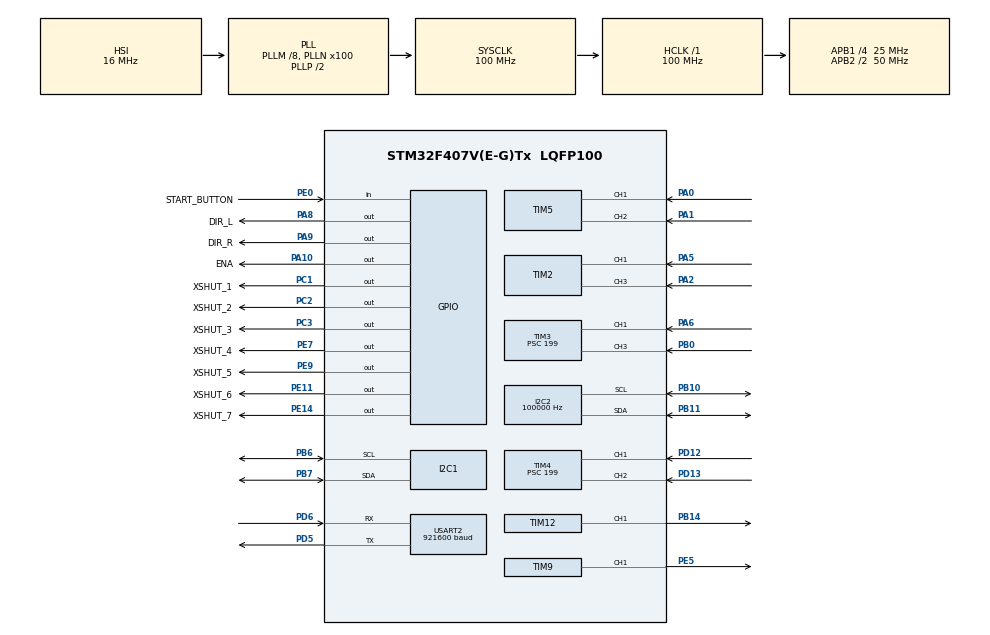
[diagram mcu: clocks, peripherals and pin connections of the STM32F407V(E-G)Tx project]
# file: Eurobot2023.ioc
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Dma.Request0=USART2_RX
Dma.Request1=USART2_TX
Dma.Request2=TIM3_CH3
Dma.Request3=TIM4_CH2
Dma.Request4=TIM2_UP/CH3
Dma.Request5=TIM5_CH2
Dma.TIM2_UP/CH3.4.Direction=DMA_PERIPH_TO_MEMORY
Dma.TIM2_UP/CH3.4.FIFOMode=DMA_FIFOMODE_DISABLE
Dma.TIM2_UP/CH3.4.Instance=DMA1_Stream1
Dma.TIM2_UP/CH3.4.MemDataAlignment=DMA_MDATAALIGN_WORD
Dma.TIM2_UP/CH3.4.MemInc=DMA_MINC_ENABLE
Dma.TIM2_UP/CH3.4.Mode=DMA_CIRCULAR
Dma.TIM2_UP/CH3.4.PeriphDataAlignment=DMA_PDATAALIGN_WORD
Dma.TIM2_UP/CH3.4.PeriphInc=DMA_PINC_DISABLE
Dma.TIM2_UP/CH3.4.Priority=DMA_PRIORITY_HIGH
Dma.TIM3_CH3.2.Direction=DMA_PERIPH_TO_MEMORY
Dma.TIM3_CH3.2.FIFOMode=DMA_FIFOMODE_DISABLE
Dma.TIM3_CH3.2.Instance=DMA1_Stream7
Dma.TIM3_CH3.2.MemDataAlignment=DMA_MDATAALIGN_WORD
Dma.TIM3_CH3.2.MemInc=DMA_MINC_ENABLE
Dma.TIM3_CH3.2.Mode=DMA_CIRCULAR
Dma.TIM3_CH3.2.PeriphDataAlignment=DMA_PDATAALIGN_WORD
Dma.TIM3_CH3.2.PeriphInc=DMA_PINC_DISABLE
Dma.TIM3_CH3.2.Priority=DMA_PRIORITY_HIGH
Dma.TIM4_CH2.3.Direction=DMA_PERIPH_TO_MEMORY
Dma.TIM4_CH2.3.FIFOMode=DMA_FIFOMODE_DISABLE
Dma.TIM4_CH2.3.Instance=DMA1_Stream3
Dma.TIM4_CH2.3.MemDataAlignment=DMA_MDATAALIGN_WORD
Dma.TIM4_CH2.3.MemInc=DMA_MINC_ENABLE
Dma.TIM4_CH2.3.Mode=DMA_CIRCULAR
Dma.TIM4_CH2.3.PeriphDataAlignment=DMA_PDATAALIGN_WORD
Dma.TIM4_CH2.3.PeriphInc=DMA_PINC_DISABLE
Dma.TIM4_CH2.3.Priority=DMA_PRIORITY_HIGH
Dma.TIM5_CH2.5.Direction=DMA_PERIPH_TO_MEMORY
Dma.TIM5_CH2.5.FIFOMode=DMA_FIFOMODE_DISABLE
Dma.TIM5_CH2.5.Instance=DMA1_Stream4
Dma.TIM5_CH2.5.MemDataAlignment=DMA_MDATAALIGN_WORD
Dma.TIM5_CH2.5.MemInc=DMA_MINC_ENABLE
Dma.TIM5_CH2.5.Mode=DMA_CIRCULAR
Dma.TIM5_CH2.5.PeriphDataAlignment=DMA_PDATAALIGN_WORD
Dma.TIM5_CH2.5.PeriphInc=DMA_PINC_DISABLE
Dma.TIM5_CH2.5.Priority=DMA_PRIORITY_HIGH
Dma.USART2_RX.0.Direction=DMA_PERIPH_TO_MEMORY
Dma.USART2_RX.0.FIFOMode=DMA_FIFOMODE_DISABLE
Dma.USART2_RX.0.Instance=DMA1_Stream5
Dma.USART2_RX.0.MemDataAlignment=DMA_MDATAALIGN_BYTE
Dma.USART2_RX.0.MemInc=DMA_MINC_ENABLE
Dma.USART2_RX.0.Mode=DMA_NORMAL
Dma.USART2_RX.0.PeriphDataAlignment=DMA_PDATAALIGN_BYTE
Dma.USART2_RX.0.PeriphInc=DMA_PINC_DISABLE
Dma.USART2_RX.0.Priority=DMA_PRIORITY_VERY_HIGH
Dma.USART2_TX.1.Direction=DMA_MEMORY_TO_PERIPH
Dma.USART2_TX.1.FIFOMode=DMA_FIFOMODE_DISABLE
Dma.USART2_TX.1.Instance=DMA1_Stream6
Dma.USART2_TX.1.MemDataAlignment=DMA_MDATAALIGN_BYTE
Dma.USART2_TX.1.MemInc=DMA_MINC_ENABLE
Dma.USART2_TX.1.Mode=DMA_NORMAL
Dma.USART2_TX.1.PeriphDataAlignment=DMA_PDATAALIGN_BYTE
Dma.USART2_TX.1.PeriphInc=DMA_PINC_DISABLE
Dma.USART2_TX.1.Priority=DMA_PRIORITY_VERY_HIGH
I2C2.ClockSpeed=100000
I2C2.I2C_Mode=I2C_Standard
Mcu.Family=STM32F4
Mcu.Name=STM32F407V(E-G)Tx
Mcu.Package=LQFP100
NVIC.DMA1_Stream1_IRQn=true\:0\:0\:false\:false\:true\:false\:true\:true
NVIC.DMA1_Stream3_IRQn=true\:0\:0\:false\:false\:true\:false\:true\:true
NVIC.DMA1_Stream4_IRQn=true\:0\:0\:false\:false\:true\:false\:true\:true
NVIC.DMA1_Stream5_IRQn=true\:0\:0\:false\:false\:true\:false\:true\:true
NVIC.DMA1_Stream6_IRQn=true\:0\:0\:false\:false\:true\:false\:true\:true
NVIC.DMA1_Stream7_IRQn=true\:0\:0\:false\:false\:true\:false\:true\:true
NVIC.PriorityGroup=NVIC_PRIORITYGROUP_0
NVIC.TIM3_IRQn=true\:0\:0\:false\:false\:true\:true\:true\:true
NVIC.TIM4_IRQn=true\:0\:0\:false\:false\:true\:true\:true\:true
NVIC.USART2_IRQn=true\:0\:0\:false\:false\:true\:true\:true\:true
PA0-WKUP.Signal=S_TIM5_CH1
PA1.Signal=S_TIM5_CH2
PA10.GPIO_Label=ENA
PA10.GPIO_ModeDefaultOutputPP=GPIO_MODE_OUTPUT_PP
PA10.GPIO_PuPd=GPIO_NOPULL
PA10.GPIO_Speed=GPIO_SPEED_FREQ_LOW
PA10.Signal=GPIO_Output
PA2.Signal=S_TIM2_CH3
PA5.Signal=S_TIM2_CH1_ETR
PA6.Signal=S_TIM3_CH1
PA8.GPIO_Label=DIR_L
PA8.GPIO_ModeDefaultOutputPP=GPIO_MODE_OUTPUT_PP
PA8.GPIO_PuPd=GPIO_PULLDOWN
PA8.GPIO_Speed=GPIO_SPEED_FREQ_LOW
PA8.PinState=GPIO_PIN_RESET
PA8.Signal=GPIO_Output
PA9.GPIO_Label=DIR_R
PA9.GPIO_ModeDefaultOutputPP=GPIO_MODE_OUTPUT_PP
PA9.GPIO_PuPd=GPIO_PULLDOWN
PA9.GPIO_Speed=GPIO_SPEED_FREQ_LOW
PA9.Signal=GPIO_Output
PB0.Signal=S_TIM3_CH3
PB10.Mode=I2C
PB10.Signal=I2C2_SCL
PB11.Mode=I2C
PB11.Signal=I2C2_SDA
PB14.Signal=S_TIM12_CH1
PB6.Mode=I2C
PB6.Signal=I2C1_SCL
PB7.Mode=I2C
PB7.Signal=I2C1_SDA
PC1.GPIO_Label=XSHUT_1
PC1.GPIO_Speed=GPIO_SPEED_FREQ_VERY_HIGH
PC1.Signal=GPIO_Output
PC2.GPIO_Label=XSHUT_2
PC2.GPIO_Speed=GPIO_SPEED_FREQ_VERY_HIGH
PC2.Signal=GPIO_Output
PC3.GPIO_Label=XSHUT_3
PC3.GPIO_Speed=GPIO_SPEED_FREQ_VERY_HIGH
PC3.Signal=GPIO_Output
PD12.Signal=S_TIM4_CH1
PD13.Signal=S_TIM4_CH2
PD5.Mode=Asynchronous
PD5.Signal=USART2_TX
PD6.Mode=Asynchronous
PD6.Signal=USART2_RX
PE0.GPIO_Label=START_BUTTON
PE0.GPIO_PuPd=GPIO_PULLDOWN
PE0.Signal=GPIO_Input
PE11.GPIO_Label=XSHUT_6
PE11.GPIO_Speed=GPIO_SPEED_FREQ_VERY_HIGH
PE11.Signal=GPIO_Output
PE14.GPIO_Label=XSHUT_7
PE14.Signal=GPIO_Output
PE5.Signal=S_TIM9_CH1
PE7.GPIO_Label=XSHUT_4
PE7.GPIO_Speed=GPIO_SPEED_FREQ_VERY_HIGH
PE7.Signal=GPIO_Output
PE9.GPIO_Label=XSHUT_5
PE9.GPIO_Speed=GPIO_SPEED_FREQ_VERY_HIGH
PE9.Signal=GPIO_Output
PH0-OSC_IN.Mode=HSE-External-Oscillator
PH0-OSC_IN.Signal=RCC_OSC_IN
PH1-OSC_OUT.Mode=HSE-External-Oscillator
PH1-OSC_OUT.Signal=RCC_OSC_OUT
ProjectManager.HeapSize=0x200
ProjectManager.StackSize=0x400
ProjectManager.TargetToolchain=STM32CubeIDE
RCC.48MHZClocksFreq_Value=28571428.57142857
RCC.AHBFreq_Value=100000000
RCC.APB1CLKDivider=RCC_HCLK_DIV4
RCC.APB1Freq_Value=25000000
RCC.APB1TimFreq_Value=50000000
RCC.APB2CLKDivider=RCC_HCLK_DIV2
RCC.APB2Freq_Value=50000000
RCC.APB2TimFreq_Value=100000000
RCC.CortexFreq_Value=100000000
RCC.HCLKFreq_Value=100000000
RCC.HSE_VALUE=8000000
RCC.HSI_VALUE=16000000
RCC.LSE_VALUE=32768
RCC.PLLM=8
RCC.PLLN=100
RCC.PLLQ=7
RCC.SYSCLKFreq_VALUE=100000000
RCC.SYSCLKSource=RCC_SYSCLKSOURCE_PLLCLK
RCC.VCOOutputFreq_Value=200000000
SH.S_TIM12_CH1.0=TIM12_CH1,PWM Generation1 CH1
SH.S_TIM2_CH1_ETR.0=TIM2_CH1,TriggerSource_TI1FP1
SH.S_TIM2_CH3.0=TIM2_CH3,Input_Capture3_from_TI3
SH.S_TIM3_CH1.0=TIM3_CH1,TriggerSource_TI1FP1
SH.S_TIM3_CH3.0=TIM3_CH3,Input_Capture3_from_TI3
SH.S_TIM4_CH1.0=TIM4_CH1,TriggerSource_TI1FP1
SH.S_TIM4_CH2.0=TIM4_CH2,Input_Capture2_from_TI2
SH.S_TIM5_CH1.0=TIM5_CH1,TriggerSource_TI1FP1
SH.S_TIM5_CH2.0=TIM5_CH2,Input_Capture2_from_TI2
SH.S_TIM9_CH1.0=TIM9_CH1,PWM Generation1 CH1
TIM12.AutoReloadPreload=TIM_AUTORELOAD_PRELOAD_ENABLE
TIM12.Channel-PWM\ Generation1\ CH1=TIM_CHANNEL_1
TIM12.OCMode_PWM-PWM\ Generation1\ CH1=TIM_OCMODE_PWM2
TIM12.Period=3000
TIM12.Prescaler=2
TIM2.Channel-Input_Capture3_from_TI3=TIM_CHANNEL_3
TIM2.ICFilter_CH3=15
TIM2.ICPolarity_CH3=TIM_INPUTCHANNELPOLARITY_BOTHEDGE
TIM2.Slave_TriggerFilter=15
TIM2.Slave_TriggerPolarity=TIM_TRIGGERPOLARITY_BOTHEDGE
TIM2.TIM_MasterSlaveMode=TIM_MASTERSLAVEMODE_DISABLE
TIM3.Channel-Input_Capture3_from_TI3=TIM_CHANNEL_3
TIM3.ICFilter_CH3=15
TIM3.ICPolarity_CH3=TIM_INPUTCHANNELPOLARITY_BOTHEDGE
TIM3.Prescaler=199
TIM3.Slave_TriggerFilter=15
TIM3.Slave_TriggerPolarity=TIM_TRIGGERPOLARITY_BOTHEDGE
TIM3.TIM_MasterOutputTrigger=TIM_TRGO_RESET
TIM3.TIM_MasterSlaveMode=TIM_MASTERSLAVEMODE_DISABLE
TIM4.Channel-Input_Capture2_from_TI2=TIM_CHANNEL_2
TIM4.ICFilter_CH2=15
TIM4.ICPolarity_CH2=TIM_INPUTCHANNELPOLARITY_BOTHEDGE
TIM4.Prescaler=199
TIM4.Slave_TriggerFilter=15
TIM4.Slave_TriggerPolarity=TIM_TRIGGERPOLARITY_BOTHEDGE
TIM5.Channel-Input_Capture2_from_TI2=TIM_CHANNEL_2
TIM5.ICFilter_CH2=15
TIM5.ICPolarity_CH2=TIM_INPUTCHANNELPOLARITY_BOTHEDGE
TIM5.Slave_TriggerFilter=15
TIM5.Slave_TriggerPolarity=TIM_TRIGGERPOLARITY_BOTHEDGE
TIM9.AutoReloadPreload=TIM_AUTORELOAD_PRELOAD_ENABLE
TIM9.Channel-PWM\ Generation1\ CH1=TIM_CHANNEL_1
TIM9.OCMode_PWM-PWM\ Generation1\ CH1=TIM_OCMODE_PWM2
TIM9.Period=3000
TIM9.Prescaler=2
USART2.BaudRate=921600
USART2.OverSampling=UART_OVERSAMPLING_16
USART2.VirtualMode=VM_ASYNC
VP_TIM2_VS_ControllerModeClock.Mode=Clock Mode
VP_TIM3_VS_ControllerModeReset.Mode=Reset Mode
VP_TIM4_VS_ControllerModeReset.Mode=Reset Mode
VP_TIM5_VS_ControllerModeClock.Mode=Clock Mode
board=STM32F407G-DISC1

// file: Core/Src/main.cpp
/* USER CODE BEGIN Header */
/**
  ******************************************************************************
  * @file           : main.c
  * @brief          : Main program body
  ******************************************************************************
  * @attention
  *
  * Copyright (c) 2022 STMicroelectronics.
  * All rights reserved.
  *
  * This software is licensed under terms that can be found in the LICENSE file
  * in the root directory of this software component.
  * If no LICENSE file comes with this software, it is provided AS-IS.
  *
  ******************************************************************************
  */
/* USER CODE END Header */
#include "main.h"

/* USER CODE BEGIN Includes */
#include "ros.h"

#include "motors.h"
#include "wrappers.h"
#include "servo/servo_interface.h"
#include "range_sensor/range_sensor_interface.h"

#include "utils/start_button.h"

/* USER CODE END Includes */

I2C_HandleTypeDef hi2c1;
I2C_HandleTypeDef hi2c2;

TIM_HandleTypeDef htim2;
TIM_HandleTypeDef htim3;
TIM_HandleTypeDef htim4;
TIM_HandleTypeDef htim5;
TIM_HandleTypeDef htim9;
TIM_HandleTypeDef htim12;
DMA_HandleTypeDef hdma_tim2_up_ch3;
DMA_HandleTypeDef hdma_tim3_ch3;
DMA_HandleTypeDef hdma_tim4_ch2;
DMA_HandleTypeDef hdma_tim5_ch2;

UART_HandleTypeDef huart2;
DMA_HandleTypeDef hdma_usart2_rx;
DMA_HandleTypeDef hdma_usart2_tx;

/* USER CODE BEGIN PV */

//------------------------------------------------define EncoderMotors perif BEGIN--------------------
#define dir_port_l 				GPIOA
#define dir_pin_l 				GPIO_PIN_8

#define ena_port  				GPIOA
#define ena_pin 				GPIO_PIN_10

#define	encoder_timer_l 		&htim2
#define encoder_timer_chanel1_l TIM_CHANNEL_3

#define speed_timer_l 			&htim3
#define speed_timer_chanel2_l  	TIM_CHANNEL_3

#define pwm_timer_l				&htim9
#define pwm_timer_chanel1_l  	TIM_CHANNEL_1

#define dir_port_r 				GPIOA
#define dir_pin_r				GPIO_PIN_9

#define	encoder_timer_r 		&htim5
#define encoder_timer_chanel1_r TIM_CHANNEL_2

#define speed_timer_r 			&htim4
#define speed_timer_chanel2_r  	TIM_CHANNEL_2

#define pwm_timer_r				&htim12
#define pwm_timer_chanel1_r  	TIM_CHANNEL_1

//------------------------------------------------define EncoderMotors perif END--------------------

//------------------------------------------------define Range_Sensors perif BEGIN------------------

//------------------------------------------------define Range_Sensors perif END--------------------

/* USER CODE END PV */

void SystemClock_Config(void);
static void MX_GPIO_Init(void);
static void MX_DMA_Init(void);
static void MX_I2C1_Init(void);
static void MX_I2C2_Init(void);
static void MX_TIM2_Init(void);
static void MX_TIM5_Init(void);
static void MX_TIM12_Init(void);
static void MX_TIM3_Init(void);
static void MX_TIM4_Init(void);
static void MX_TIM9_Init(void);
static void MX_USART2_UART_Init(void);

/* USER CODE BEGIN 0 */

//----------------------------------------------------------------ROS------------------------------------

ros::NodeHandle node;

//-------------------------------------------------------------------------------------------------------

//------------------------------------------------------------GLOBAL OBJ---------------------------------

motors::EncoderMotor left_encoder_motor (
    {dir_port_l, dir_pin_l},
    {ena_port, ena_pin},
    {encoder_timer_l, encoder_timer_chanel1_l},
    {speed_timer_l, speed_timer_chanel2_l},
    {pwm_timer_l, pwm_timer_chanel1_l},
	false,
	node,
	"/dolly/left_wheel/angle32",
	"/dolly/left_wheel/cur_vel32",
	"/dolly/left_wheel/pwd32"
);

motors::EncoderMotor right_encoder_motor (
    {dir_port_r, dir_pin_r},
    {ena_port, ena_pin},
    {encoder_timer_r, encoder_timer_chanel1_r},
    {speed_timer_r, speed_timer_chanel2_r},
    {pwm_timer_r, pwm_timer_chanel1_r},
	true,
	node,
	"/dolly/right_wheel/angle32",
	"/dolly/right_wheel/cur_vel32",
	"/dolly/right_wheel/pwd32"
);

//-----------------------------------------------------------Servos------------------------------

// ****** constexpr is used here to avoid logic error at compile time
constexpr servo_description::RDS3225_Servo left_gripper(0, 60, 130);
constexpr servo_description::RDS3225_Servo right_gripper(1, 55, 125);
constexpr servo_description::RDS3225_Servo lift(2, 15, 210);
constexpr servo_description::RDS3225_Servo plunger(3, 95, 150);

constexpr servo_description::PDI_6225MG_300_Servo left_limiter(4); // 55, 105
constexpr servo_description::PDI_6225MG_300_Servo right_limiter(5); // 180, 230
constexpr servo_description::PDI_6225MG_300_Servo cherry_spreader(6, 10, 285);
constexpr servo_description::PDI_6225MG_300_Servo cherry_separator(7, 115, 240);
constexpr servo_description::PDI_6225MG_300_Servo visor(8, 10, 235);

servo_interface::Servo_Interface servos(
	{
		left_gripper,
		right_gripper,
		lift,
		plunger,

		left_limiter,
		right_limiter,
		cherry_spreader,
		cherry_separator,
		visor

	},
	node,
	"servo_cmd_topic"
);

//-----------------------------------------------------------Range_Sensors-----------------------

rs_interface::VL53L0X_Interface range_sensors (
	{
		{{XSHUT_1_GPIO_Port, XSHUT_1_Pin}},
		{{XSHUT_2_GPIO_Port, XSHUT_2_Pin}},
		{{XSHUT_3_GPIO_Port, XSHUT_3_Pin}},
		{{XSHUT_4_GPIO_Port, XSHUT_4_Pin}},
		{{XSHUT_5_GPIO_Port, XSHUT_5_Pin}},
		{{XSHUT_6_GPIO_Port, XSHUT_6_Pin}},
		{{XSHUT_7_GPIO_Port, XSHUT_7_Pin}}
	},
	node,
	"range_sensors_topic"
);

//-----------------------------------------------------------Utils-------------------------------

utils::StartButton start_button(
	{START_BUTTON_GPIO_Port, START_BUTTON_Pin},
	node,
	"start_topic"
);

//------------------------------------------------------------SYSTEM UART func-------------------

void HAL_UART_ErrorCallback(UART_HandleTypeDef *huart){

    uint8_t data[1];
  __HAL_UART_CLEAR_OREFLAG(huart);
  __HAL_UART_CLEAR_NEFLAG(huart);
  __HAL_UART_CLEAR_FEFLAG(huart);

  /* Disable the UART Error Interrupt: (Frame error, noise error, overrun error) */
  __HAL_UART_DISABLE_IT(huart, UART_IT_ERR);
  //The most important thing when UART framing error occur/any error is restart the RX process
  //Restarting the RX, .. 1 byte. .. u8DATUartShortRxBuffer is My own rx buffer
    HAL_UART_Receive_IT(huart, data, 1);
}

void UART_check(UART_HandleTypeDef *huart){
    if (__HAL_UART_GET_FLAG(huart, UART_FLAG_ORE) != RESET){
		__HAL_UART_CLEAR_OREFLAG(huart);
		__HAL_UART_ENABLE_IT(huart,UART_IT_ERR);

		if (__HAL_UART_GET_FLAG(huart,UART_FLAG_RXNE) == SET){
			huart->Instance->CR3 |= 1 << 6;
			huart->Instance->CR3 |= 1 << 7;
		}
	}
}

//------------------------------------------------------------SYSTEM Transmit CallBack's-------------------

void HAL_UART_TxCpltCallback(UART_HandleTypeDef *huart) {
    node.getHardware()->flush();
}

void HAL_UART_RxCpltCallback(UART_HandleTypeDef *huart) {
    node.getHardware()->reset_rbuf();
}

//------------------------------------------------------------TIM SYSTEM Motors CallBack's-------------------
void HAL_TIM_PeriodElapsedCallback(TIM_HandleTypeDef* htim) {
	left_encoder_motor.__set_velocity_to_null__(htim);
	right_encoder_motor.__set_velocity_to_null__(htim);
}

//--------------------------------------------------------------------------------------------------------

/* USER CODE END 0 */

int main(void)
{

  /* MCU Configuration--------------------------------------------------------*/

  /* Reset of all peripherals, Initializes the Flash interface and the Systick. */
  HAL_Init();

  /* Configure the system clock */
  SystemClock_Config();

  /* Initialize all configured peripherals */
  MX_GPIO_Init();
  MX_DMA_Init();
  MX_I2C1_Init();
  MX_I2C2_Init();
  MX_TIM2_Init();
  MX_TIM5_Init();
  MX_TIM12_Init();
  MX_TIM3_Init();
  MX_TIM4_Init();
  MX_TIM9_Init();
  MX_USART2_UART_Init();
  /* USER CODE BEGIN 2 */

    //-------------------------------------------------------------ROS----------------------

    node.initNode();

    while (node.connected() == false) {
        // waiting for connection
        UART_check(&huart2);
    	HAL_Delay(1);
    	node.spinOnce();
    }
   //-----------------------------------------------------------ROS::Init_begin------------

    left_encoder_motor.init();
    right_encoder_motor.init();

    servos.init(&hi2c1);

    range_sensors.init(&hi2c2);

    start_button.init();

//    HAL_Delay(3000);

   //-----------------------------------------------------------ROS::Init_end--------------
    node.getHardware()->flush();	// buffer flush

  /* USER CODE END 2 */

  /* Infinite loop */
  /* USER CODE BEGIN WHILE */

    auto prev = HAL_GetTick();

    while (1) {
        if (node.connected() == true) {
            auto now = HAL_GetTick();

            if (now - prev >= 15) {
                prev = now;

                right_encoder_motor.publish();
                left_encoder_motor.publish();

                range_sensors.publish();

                start_button.publish();

            }
        }

        UART_check(&huart2);

        HAL_Delay(1);
        node.spinOnce();

    /* USER CODE END WHILE */

    }
}

void SystemClock_Config(void)
{
  RCC_OscInitTypeDef RCC_OscInitStruct = {0};
  RCC_ClkInitTypeDef RCC_ClkInitStruct = {0};

  /** Configure the main internal regulator output voltage
  */
  __HAL_RCC_PWR_CLK_ENABLE();
  __HAL_PWR_VOLTAGESCALING_CONFIG(PWR_REGULATOR_VOLTAGE_SCALE1);

  /** Initializes the RCC Oscillators according to the specified parameters
  * in the RCC_OscInitTypeDef structure.
  */
  RCC_OscInitStruct.OscillatorType = RCC_OSCILLATORTYPE_HSI;
  RCC_OscInitStruct.HSIState = RCC_HSI_ON;
  RCC_OscInitStruct.HSICalibrationValue = RCC_HSICALIBRATION_DEFAULT;
  RCC_OscInitStruct.PLL.PLLState = RCC_PLL_ON;
  RCC_OscInitStruct.PLL.PLLSource = RCC_PLLSOURCE_HSI;
  RCC_OscInitStruct.PLL.PLLM = 8;
  RCC_OscInitStruct.PLL.PLLN = 100;
  RCC_OscInitStruct.PLL.PLLP = RCC_PLLP_DIV2;
  RCC_OscInitStruct.PLL.PLLQ = 7;
  if (HAL_RCC_OscConfig(&RCC_OscInitStruct) != HAL_OK)
  {
    Error_Handler();
  }

  /** Initializes the CPU, AHB and APB buses clocks
  */
  RCC_ClkInitStruct.ClockType = RCC_CLOCKTYPE_HCLK|RCC_CLOCKTYPE_SYSCLK
                              |RCC_CLOCKTYPE_PCLK1|RCC_CLOCKTYPE_PCLK2;
  RCC_ClkInitStruct.SYSCLKSource = RCC_SYSCLKSOURCE_PLLCLK;
  RCC_ClkInitStruct.AHBCLKDivider = RCC_SYSCLK_DIV1;
  RCC_ClkInitStruct.APB1CLKDivider = RCC_HCLK_DIV4;
  RCC_ClkInitStruct.APB2CLKDivider = RCC_HCLK_DIV2;

  if (HAL_RCC_ClockConfig(&RCC_ClkInitStruct, FLASH_LATENCY_3) != HAL_OK)
  {
    Error_Handler();
  }
}

static void MX_I2C1_Init(void)
{

  hi2c1.Instance = I2C1;
  hi2c1.Init.ClockSpeed = 100000;
  hi2c1.Init.DutyCycle = I2C_DUTYCYCLE_2;
  hi2c1.Init.OwnAddress1 = 0;
  hi2c1.Init.AddressingMode = I2C_ADDRESSINGMODE_7BIT;
  hi2c1.Init.DualAddressMode = I2C_DUALADDRESS_DISABLE;
  hi2c1.Init.OwnAddress2 = 0;
  hi2c1.Init.GeneralCallMode = I2C_GENERALCALL_DISABLE;
  hi2c1.Init.NoStretchMode = I2C_NOSTRETCH_DISABLE;
  if (HAL_I2C_Init(&hi2c1) != HAL_OK)
  {
    Error_Handler();
  }

}

static void MX_I2C2_Init(void)
{

  hi2c2.Instance = I2C2;
  hi2c2.Init.ClockSpeed = 100000;
  hi2c2.Init.DutyCycle = I2C_DUTYCYCLE_2;
  hi2c2.Init.OwnAddress1 = 0;
  hi2c2.Init.AddressingMode = I2C_ADDRESSINGMODE_7BIT;
  hi2c2.Init.DualAddressMode = I2C_DUALADDRESS_DISABLE;
  hi2c2.Init.OwnAddress2 = 0;
  hi2c2.Init.GeneralCallMode = I2C_GENERALCALL_DISABLE;
  hi2c2.Init.NoStretchMode = I2C_NOSTRETCH_DISABLE;
  if (HAL_I2C_Init(&hi2c2) != HAL_OK)
  {
    Error_Handler();
  }

}

static void MX_TIM2_Init(void)
{

  TIM_SlaveConfigTypeDef sSlaveConfig = {0};
  TIM_MasterConfigTypeDef sMasterConfig = {0};
  TIM_IC_InitTypeDef sConfigIC = {0};

  htim2.Instance = TIM2;
  htim2.Init.Prescaler = 0;
  htim2.Init.CounterMode = TIM_COUNTERMODE_UP;
  htim2.Init.Period = 4294967295;
  htim2.Init.ClockDivision = TIM_CLOCKDIVISION_DIV1;
  htim2.Init.AutoReloadPreload = TIM_AUTORELOAD_PRELOAD_DISABLE;
  if (HAL_TIM_Base_Init(&htim2) != HAL_OK)
  {
    Error_Handler();
  }
  if (HAL_TIM_IC_Init(&htim2) != HAL_OK)
  {
    Error_Handler();
  }
  sSlaveConfig.SlaveMode = TIM_SLAVEMODE_EXTERNAL1;
  sSlaveConfig.InputTrigger = TIM_TS_TI1FP1;
  sSlaveConfig.TriggerPolarity = TIM_TRIGGERPOLARITY_BOTHEDGE;
  sSlaveConfig.TriggerFilter = 15;
  if (HAL_TIM_SlaveConfigSynchro(&htim2, &sSlaveConfig) != HAL_OK)
  {
    Error_Handler();
  }
  sMasterConfig.MasterOutputTrigger = TIM_TRGO_RESET;
  sMasterConfig.MasterSlaveMode = TIM_MASTERSLAVEMODE_DISABLE;
  if (HAL_TIMEx_MasterConfigSynchronization(&htim2, &sMasterConfig) != HAL_OK)
  {
    Error_Handler();
  }
  sConfigIC.ICPolarity = TIM_INPUTCHANNELPOLARITY_BOTHEDGE;
  sConfigIC.ICSelection = TIM_ICSELECTION_DIRECTTI;
  sConfigIC.ICPrescaler = TIM_ICPSC_DIV1;
  sConfigIC.ICFilter = 15;
  if (HAL_TIM_IC_ConfigChannel(&htim2, &sConfigIC, TIM_CHANNEL_3) != HAL_OK)
  {
    Error_Handler();
  }
  /* USER CODE BEGIN TIM2_Init 2 */

  //htim2.Instance->CNT=Timer_Encoder_init_value; // установка начального значения таймера, чтобы избежать underflow
 // htim2.Instance->CR1|=  1UL << 0; //enable timer

  /* USER CODE END TIM2_Init 2 */

}

static void MX_TIM3_Init(void)
{

  TIM_SlaveConfigTypeDef sSlaveConfig = {0};
  TIM_MasterConfigTypeDef sMasterConfig = {0};
  TIM_IC_InitTypeDef sConfigIC = {0};

  htim3.Instance = TIM3;
  htim3.Init.Prescaler = 199;
  htim3.Init.CounterMode = TIM_COUNTERMODE_UP;
  htim3.Init.Period = 65535;
  htim3.Init.ClockDivision = TIM_CLOCKDIVISION_DIV1;
  htim3.Init.AutoReloadPreload = TIM_AUTORELOAD_PRELOAD_DISABLE;
  if (HAL_TIM_Base_Init(&htim3) != HAL_OK)
  {
    Error_Handler();
  }
  if (HAL_TIM_IC_Init(&htim3) != HAL_OK)
  {
    Error_Handler();
  }
  sSlaveConfig.SlaveMode = TIM_SLAVEMODE_RESET;
  sSlaveConfig.InputTrigger = TIM_TS_TI1FP1;
  sSlaveConfig.TriggerPolarity = TIM_TRIGGERPOLARITY_BOTHEDGE;
  sSlaveConfig.TriggerFilter = 15;
  if (HAL_TIM_SlaveConfigSynchro(&htim3, &sSlaveConfig) != HAL_OK)
  {
    Error_Handler();
  }
  sMasterConfig.MasterOutputTrigger = TIM_TRGO_RESET;
  sMasterConfig.MasterSlaveMode = TIM_MASTERSLAVEMODE_DISABLE;
  if (HAL_TIMEx_MasterConfigSynchronization(&htim3, &sMasterConfig) != HAL_OK)
  {
    Error_Handler();
  }
  sConfigIC.ICPolarity = TIM_INPUTCHANNELPOLARITY_BOTHEDGE;
  sConfigIC.ICSelection = TIM_ICSELECTION_DIRECTTI;
  sConfigIC.ICPrescaler = TIM_ICPSC_DIV1;
  sConfigIC.ICFilter = 15;
  if (HAL_TIM_IC_ConfigChannel(&htim3, &sConfigIC, TIM_CHANNEL_3) != HAL_OK)
  {
    Error_Handler();
  }
  /* USER CODE BEGIN TIM3_Init 2 */
  //htim3.Instance->CR1|=  1UL << 0; //enable timer
  //htim3.Instance->CCER|= 1UL << 0; //enable capture

  /* USER CODE END TIM3_Init 2 */

}

static void MX_TIM4_Init(void)
{

  TIM_SlaveConfigTypeDef sSlaveConfig = {0};
  TIM_MasterConfigTypeDef sMasterConfig = {0};
  TIM_IC_InitTypeDef sConfigIC = {0};

  htim4.Instance = TIM4;
  htim4.Init.Prescaler = 199;
  htim4.Init.CounterMode = TIM_COUNTERMODE_UP;
  htim4.Init.Period = 65535;
  htim4.Init.ClockDivision = TIM_CLOCKDIVISION_DIV1;
  htim4.Init.AutoReloadPreload = TIM_AUTORELOAD_PRELOAD_DISABLE;
  if (HAL_TIM_Base_Init(&htim4) != HAL_OK)
  {
    Error_Handler();
  }
  if (HAL_TIM_IC_Init(&htim4) != HAL_OK)
  {
    Error_Handler();
  }
  sSlaveConfig.SlaveMode = TIM_SLAVEMODE_RESET;
  sSlaveConfig.InputTrigger = TIM_TS_TI1FP1;
  sSlaveConfig.TriggerPolarity = TIM_TRIGGERPOLARITY_BOTHEDGE;
  sSlaveConfig.TriggerFilter = 15;
  if (HAL_TIM_SlaveConfigSynchro(&htim4, &sSlaveConfig) != HAL_OK)
  {
    Error_Handler();
  }
  sMasterConfig.MasterOutputTrigger = TIM_TRGO_RESET;
  sMasterConfig.MasterSlaveMode = TIM_MASTERSLAVEMODE_DISABLE;
  if (HAL_TIMEx_MasterConfigSynchronization(&htim4, &sMasterConfig) != HAL_OK)
  {
    Error_Handler();
  }
  sConfigIC.ICPolarity = TIM_INPUTCHANNELPOLARITY_BOTHEDGE;
  sConfigIC.ICSelection = TIM_ICSELECTION_DIRECTTI;
  sConfigIC.ICPrescaler = TIM_ICPSC_DIV1;
  sConfigIC.ICFilter = 15;
  if (HAL_TIM_IC_ConfigChannel(&htim4, &sConfigIC, TIM_CHANNEL_2) != HAL_OK)
  {
    Error_Handler();
  }
  /* USER CODE BEGIN TIM4_Init 2 */
  //htim4.Instance->CR1|=  1UL << 0; //enable timer
  //htim4.Instance->CCER|= 1UL << 0; //enable capture

  /* USER CODE END TIM4_Init 2 */

}

static void MX_TIM5_Init(void)
{

  TIM_SlaveConfigTypeDef sSlaveConfig = {0};
  TIM_MasterConfigTypeDef sMasterConfig = {0};
  TIM_IC_InitTypeDef sConfigIC = {0};

  htim5.Instance = TIM5;
  htim5.Init.Prescaler = 0;
  htim5.Init.CounterMode = TIM_COUNTERMODE_UP;
  htim5.Init.Period = 4294967295;
  htim5.Init.ClockDivision = TIM_CLOCKDIVISION_DIV1;
  htim5.Init.AutoReloadPreload = TIM_AUTORELOAD_PRELOAD_DISABLE;
  if (HAL_TIM_Base_Init(&htim5) != HAL_OK)
  {
    Error_Handler();
  }
  if (HAL_TIM_IC_Init(&htim5) != HAL_OK)
  {
    Error_Handler();
  }
  sSlaveConfig.SlaveMode = TIM_SLAVEMODE_EXTERNAL1;
  sSlaveConfig.InputTrigger = TIM_TS_TI1FP1;
  sSlaveConfig.TriggerPolarity = TIM_TRIGGERPOLARITY_BOTHEDGE;
  sSlaveConfig.TriggerFilter = 15;
  if (HAL_TIM_SlaveConfigSynchro(&htim5, &sSlaveConfig) != HAL_OK)
  {
    Error_Handler();
  }
  sMasterConfig.MasterOutputTrigger = TIM_TRGO_RESET;
  sMasterConfig.MasterSlaveMode = TIM_MASTERSLAVEMODE_DISABLE;
  if (HAL_TIMEx_MasterConfigSynchronization(&htim5, &sMasterConfig) != HAL_OK)
  {
    Error_Handler();
  }
  sConfigIC.ICPolarity = TIM_INPUTCHANNELPOLARITY_BOTHEDGE;
  sConfigIC.ICSelection = TIM_ICSELECTION_DIRECTTI;
  sConfigIC.ICPrescaler = TIM_ICPSC_DIV1;
  sConfigIC.ICFilter = 15;
  if (HAL_TIM_IC_ConfigChannel(&htim5, &sConfigIC, TIM_CHANNEL_2) != HAL_OK)
  {
    Error_Handler();
  }
  /* USER CODE BEGIN TIM5_Init 2 */

  //htim5.Instance->CNT=Timer_Encoder_init_value; // установка начального значения таймера, чтобы избежать underflow
  //htim5.Instance->CR1|=  1UL << 0; //enable timer

  /* USER CODE END TIM5_Init 2 */

}

static void MX_TIM9_Init(void)
{

  TIM_OC_InitTypeDef sConfigOC = {0};

  htim9.Instance = TIM9;
  htim9.Init.Prescaler = 2;
  htim9.Init.CounterMode = TIM_COUNTERMODE_UP;
  htim9.Init.Period = 3000;
  htim9.Init.ClockDivision = TIM_CLOCKDIVISION_DIV1;
  htim9.Init.AutoReloadPreload = TIM_AUTORELOAD_PRELOAD_ENABLE;
  if (HAL_TIM_PWM_Init(&htim9) != HAL_OK)
  {
    Error_Handler();
  }
  sConfigOC.OCMode = TIM_OCMODE_PWM2;
  sConfigOC.Pulse = 0;
  sConfigOC.OCPolarity = TIM_OCPOLARITY_HIGH;
  sConfigOC.OCFastMode = TIM_OCFAST_DISABLE;
  if (HAL_TIM_PWM_ConfigChannel(&htim9, &sConfigOC, TIM_CHANNEL_1) != HAL_OK)
  {
    Error_Handler();
  }
  HAL_TIM_MspPostInit(&htim9);

}

static void MX_TIM12_Init(void)
{

  TIM_OC_InitTypeDef sConfigOC = {0};

  htim12.Instance = TIM12;
  htim12.Init.Prescaler = 2;
  htim12.Init.CounterMode = TIM_COUNTERMODE_UP;
  htim12.Init.Period = 3000;
  htim12.Init.ClockDivision = TIM_CLOCKDIVISION_DIV1;
  htim12.Init.AutoReloadPreload = TIM_AUTORELOAD_PRELOAD_ENABLE;
  if (HAL_TIM_PWM_Init(&htim12) != HAL_OK)
  {
    Error_Handler();
  }
  sConfigOC.OCMode = TIM_OCMODE_PWM2;
  sConfigOC.Pulse = 0;
  sConfigOC.OCPolarity = TIM_OCPOLARITY_HIGH;
  sConfigOC.OCFastMode = TIM_OCFAST_DISABLE;
  if (HAL_TIM_PWM_ConfigChannel(&htim12, &sConfigOC, TIM_CHANNEL_1) != HAL_OK)
  {
    Error_Handler();
  }
  HAL_TIM_MspPostInit(&htim12);

}

static void MX_USART2_UART_Init(void)
{

  huart2.Instance = USART2;
  huart2.Init.BaudRate = 921600;
  huart2.Init.WordLength = UART_WORDLENGTH_8B;
  huart2.Init.StopBits = UART_STOPBITS_1;
  huart2.Init.Parity = UART_PARITY_NONE;
  huart2.Init.Mode = UART_MODE_TX_RX;
  huart2.Init.HwFlowCtl = UART_HWCONTROL_NONE;
  huart2.Init.OverSampling = UART_OVERSAMPLING_16;
  if (HAL_UART_Init(&huart2) != HAL_OK)
  {
    Error_Handler();
  }

}

static void MX_DMA_Init(void)
{

  /* DMA controller clock enable */
  __HAL_RCC_DMA1_CLK_ENABLE();

  /* DMA interrupt init */
  /* DMA1_Stream1_IRQn interrupt configuration */
  HAL_NVIC_SetPriority(DMA1_Stream1_IRQn, 0, 0);
  HAL_NVIC_EnableIRQ(DMA1_Stream1_IRQn);
  /* DMA1_Stream3_IRQn interrupt configuration */
  HAL_NVIC_SetPriority(DMA1_Stream3_IRQn, 0, 0);
  HAL_NVIC_EnableIRQ(DMA1_Stream3_IRQn);
  /* DMA1_Stream4_IRQn interrupt configuration */
  HAL_NVIC_SetPriority(DMA1_Stream4_IRQn, 0, 0);
  HAL_NVIC_EnableIRQ(DMA1_Stream4_IRQn);
  /* DMA1_Stream5_IRQn interrupt configuration */
  HAL_NVIC_SetPriority(DMA1_Stream5_IRQn, 0, 0);
  HAL_NVIC_EnableIRQ(DMA1_Stream5_IRQn);
  /* DMA1_Stream6_IRQn interrupt configuration */
  HAL_NVIC_SetPriority(DMA1_Stream6_IRQn, 0, 0);
  HAL_NVIC_EnableIRQ(DMA1_Stream6_IRQn);
  /* DMA1_Stream7_IRQn interrupt configuration */
  HAL_NVIC_SetPriority(DMA1_Stream7_IRQn, 0, 0);
  HAL_NVIC_EnableIRQ(DMA1_Stream7_IRQn);

}

static void MX_GPIO_Init(void)
{
  GPIO_InitTypeDef GPIO_InitStruct = {0};

  /* GPIO Ports Clock Enable */
  __HAL_RCC_GPIOE_CLK_ENABLE();
  __HAL_RCC_GPIOH_CLK_ENABLE();
  __HAL_RCC_GPIOC_CLK_ENABLE();
  __HAL_RCC_GPIOA_CLK_ENABLE();
  __HAL_RCC_GPIOB_CLK_ENABLE();
  __HAL_RCC_GPIOD_CLK_ENABLE();

  /*Configure GPIO pin Output Level */
  HAL_GPIO_WritePin(GPIOC, XSHUT_1_Pin|XSHUT_2_Pin|XSHUT_3_Pin, GPIO_PIN_RESET);

  /*Configure GPIO pin Output Level */
  HAL_GPIO_WritePin(GPIOE, XSHUT_4_Pin|XSHUT_5_Pin|XSHUT_6_Pin|XSHUT_7_Pin, GPIO_PIN_RESET);

  /*Configure GPIO pin Output Level */
  HAL_GPIO_WritePin(GPIOA, DIR_L_Pin|DIR_R_Pin|ENA_Pin, GPIO_PIN_RESET);

  /*Configure GPIO pins : XSHUT_1_Pin XSHUT_2_Pin XSHUT_3_Pin */
  GPIO_InitStruct.Pin = XSHUT_1_Pin|XSHUT_2_Pin|XSHUT_3_Pin;
  GPIO_InitStruct.Mode = GPIO_MODE_OUTPUT_PP;
  GPIO_InitStruct.Pull = GPIO_NOPULL;
  GPIO_InitStruct.Speed = GPIO_SPEED_FREQ_VERY_HIGH;
  HAL_GPIO_Init(GPIOC, &GPIO_InitStruct);

  /*Configure GPIO pins : XSHUT_4_Pin XSHUT_5_Pin XSHUT_6_Pin */
  GPIO_InitStruct.Pin = XSHUT_4_Pin|XSHUT_5_Pin|XSHUT_6_Pin;
  GPIO_InitStruct.Mode = GPIO_MODE_OUTPUT_PP;
  GPIO_InitStruct.Pull = GPIO_NOPULL;
  GPIO_InitStruct.Speed = GPIO_SPEED_FREQ_VERY_HIGH;
  HAL_GPIO_Init(GPIOE, &GPIO_InitStruct);

  /*Configure GPIO pin : XSHUT_7_Pin */
  GPIO_InitStruct.Pin = XSHUT_7_Pin;
  GPIO_InitStruct.Mode = GPIO_MODE_OUTPUT_PP;
  GPIO_InitStruct.Pull = GPIO_NOPULL;
  GPIO_InitStruct.Speed = GPIO_SPEED_FREQ_LOW;
  HAL_GPIO_Init(XSHUT_7_GPIO_Port, &GPIO_InitStruct);

  /*Configure GPIO pins : DIR_L_Pin DIR_R_Pin */
  GPIO_InitStruct.Pin = DIR_L_Pin|DIR_R_Pin;
  GPIO_InitStruct.Mode = GPIO_MODE_OUTPUT_PP;
  GPIO_InitStruct.Pull = GPIO_PULLDOWN;
  GPIO_InitStruct.Speed = GPIO_SPEED_FREQ_LOW;
  HAL_GPIO_Init(GPIOA, &GPIO_InitStruct);

  /*Configure GPIO pin : ENA_Pin */
  GPIO_InitStruct.Pin = ENA_Pin;
  GPIO_InitStruct.Mode = GPIO_MODE_OUTPUT_PP;
  GPIO_InitStruct.Pull = GPIO_NOPULL;
  GPIO_InitStruct.Speed = GPIO_SPEED_FREQ_LOW;
  HAL_GPIO_Init(ENA_GPIO_Port, &GPIO_InitStruct);

  /*Configure GPIO pin : START_BUTTON_Pin */
  GPIO_InitStruct.Pin = START_BUTTON_Pin;
  GPIO_InitStruct.Mode = GPIO_MODE_INPUT;
  GPIO_InitStruct.Pull = GPIO_PULLDOWN;
  HAL_GPIO_Init(START_BUTTON_GPIO_Port, &GPIO_InitStruct);

}

void Error_Handler(void)
{
  __disable_irq();
  while (1)
  {
  }
}
